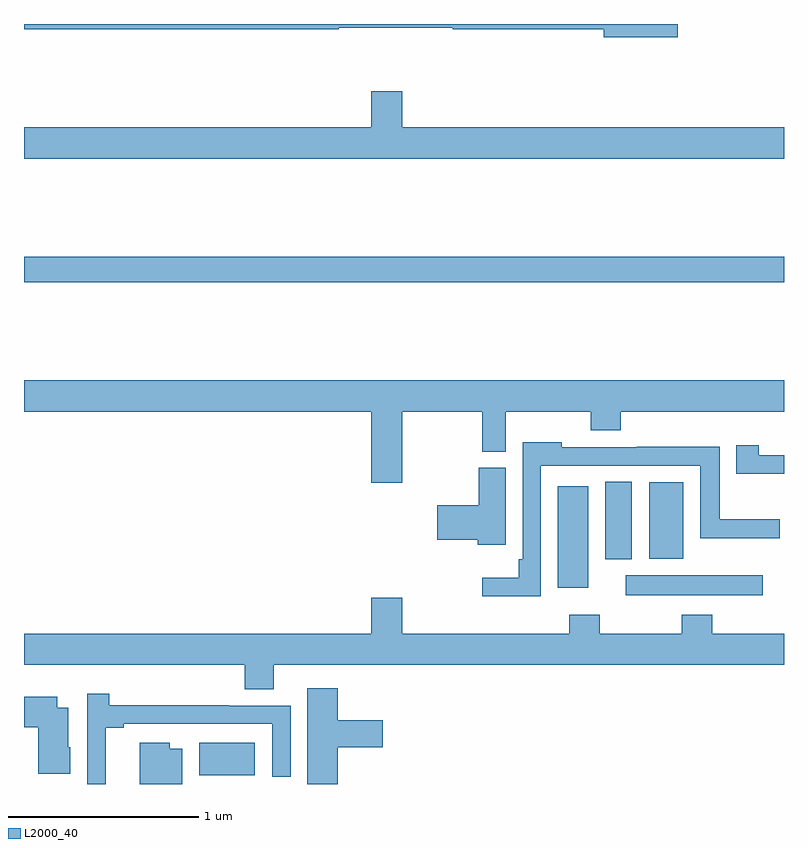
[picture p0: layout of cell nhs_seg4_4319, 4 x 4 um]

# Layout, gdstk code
import gdstk
lib = gdstk.Library(unit=1e-6, precision=1e-09)
def R(c, l, rs):  # rectangles x0, y0, x1, y1
    for r in rs: c.add(gdstk.rectangle(r[:2], r[2:], *l))
def P(c, l, *ps):  # polygons
    for p in ps: c.add(gdstk.Polygon(p, *l))
L2000_40 = (2000, 40)

nhs_seg4_4319 = lib.new_cell('nhs_seg4_4319')
R(nhs_seg4_4319, L2000_40, [(343.922,754.946,344.215,755.116), (346.167,755.894,346.888,755.998), (345.809,755.934,345.97,756.466), (346.058,756.083,346.198,756.491), (346.292,756.086,346.471,756.487), (343,757.54,347,757.676)])
P(nhs_seg4_4319, L2000_40, [(346.441,758.9),(343,758.9),(343,758.872),(344.656,758.872),(344.656,758.88),(345.256,758.88),(345.256,758.872),(346.052,758.872),(346.052,758.83),(346.441,758.83)],
  [(347,758.356),(344.992,758.356),(344.992,758.545),(344.828,758.545),(344.828,758.356),(343,758.356),(343,758.192),(347,758.192)],
  [(344.992,756.86),(345.412,756.86),(345.412,756.649),(345.535,756.649),(345.535,756.86),(345.982,756.86),(345.982,756.761),(346.142,756.761),(346.142,756.86),(347,756.86),(347,757.024),(343,757.024),(343,756.86),(344.828,756.86),(344.828,756.486),(344.992,756.486)],
  [(345.72,756.576),(346.559,756.576),(346.559,756.194),(346.978,756.194),(346.978,756.294),(346.663,756.294),(346.663,756.674),(346.225,756.674),(346.225,756.672),(345.831,756.672),(345.831,756.7),(345.624,756.7),(345.624,756.082),(345.604,756.082),(345.604,755.986),(345.411,755.986),(345.411,755.888),(345.72,755.888)],
  [(347,756.631),(346.866,756.631),(346.866,756.682),(346.748,756.682),(346.748,756.532),(347,756.532)],
  [(345.535,756.564),(345.394,756.564),(345.394,756.368),(345.174,756.368),(345.174,756.185),(345.389,756.185),(345.389,756.158),(345.535,756.158)],
  [(344.314,755.528),(347,755.528),(347,755.692),(346.622,755.692),(346.622,755.791),(346.462,755.791),(346.462,755.692),(346.029,755.692),(346.029,755.791),(345.869,755.791),(345.869,755.692),(344.992,755.692),(344.992,755.881),(344.828,755.881),(344.828,755.692),(343,755.692),(343,755.528),(344.162,755.528),(344.162,755.398),(344.314,755.398)],
  [(344.651,755.093),(344.887,755.093),(344.887,755.235),(344.651,755.235),(344.651,755.404),(344.492,755.404),(344.492,754.9),(344.651,754.9)],
  [(343.43,755.197),(343.525,755.197),(343.525,755.217),(344.307,755.217),(344.307,754.938),(344.403,754.938),(344.403,755.313),(344.078,755.313),(344.078,755.315),(343.448,755.315),(343.448,755.374),(343.332,755.374),(343.332,754.9),(343.43,754.9)],
  [(343.243,755.094),(343.234,755.094),(343.234,755.302),(343.174,755.302),(343.174,755.359),(343,755.359),(343,755.198),(343.076,755.198),(343.076,754.954),(343.243,754.954)],
  [(343.834,755.086),(343.768,755.086),(343.768,755.116),(343.61,755.116),(343.61,754.9),(343.834,754.9)])

lib.write_gds('nhs_seg4_4319.gds')
